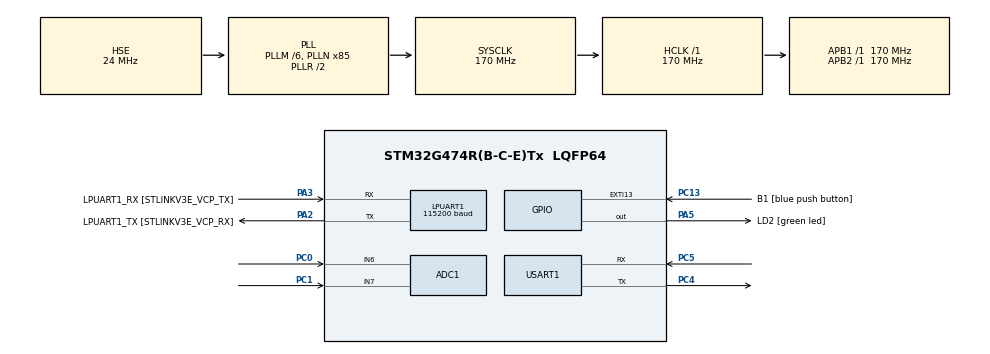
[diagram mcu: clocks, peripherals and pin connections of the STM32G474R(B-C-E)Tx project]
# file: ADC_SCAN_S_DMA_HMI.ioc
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ADC1.Channel-0\#ChannelRegularConversion=ADC_CHANNEL_6
ADC1.Channel-1\#ChannelRegularConversion=ADC_CHANNEL_7
ADC1.ContinuousConvMode=DISABLE
ADC1.DMAContinuousRequests=DISABLE
ADC1.NbrOfConversion=2
ADC1.NbrOfConversionFlag=1
ADC1.OffsetNumber-0\#ChannelRegularConversion=ADC_OFFSET_NONE
ADC1.OffsetNumber-1\#ChannelRegularConversion=ADC_OFFSET_NONE
ADC1.Rank-0\#ChannelRegularConversion=1
ADC1.Rank-1\#ChannelRegularConversion=2
ADC1.SamplingTime-0\#ChannelRegularConversion=ADC_SAMPLETIME_47CYCLES_5
ADC1.SamplingTime-1\#ChannelRegularConversion=ADC_SAMPLETIME_47CYCLES_5
ADC1.master=1
Dma.ADC1.0.Direction=DMA_PERIPH_TO_MEMORY
Dma.ADC1.0.EventEnable=DISABLE
Dma.ADC1.0.Instance=DMA1_Channel1
Dma.ADC1.0.MemDataAlignment=DMA_MDATAALIGN_WORD
Dma.ADC1.0.MemInc=DMA_MINC_ENABLE
Dma.ADC1.0.Mode=DMA_NORMAL
Dma.ADC1.0.PeriphDataAlignment=DMA_PDATAALIGN_WORD
Dma.ADC1.0.PeriphInc=DMA_PINC_DISABLE
Dma.ADC1.0.Polarity=HAL_DMAMUX_REQ_GEN_RISING
Dma.ADC1.0.Priority=DMA_PRIORITY_LOW
Dma.ADC1.0.RequestNumber=1
Dma.ADC1.0.SignalID=NONE
Dma.ADC1.0.SyncEnable=DISABLE
Dma.ADC1.0.SyncPolarity=HAL_DMAMUX_SYNC_NO_EVENT
Dma.ADC1.0.SyncRequestNumber=1
Dma.ADC1.0.SyncSignalID=NONE
Dma.Request0=ADC1
LPUART1.BaudRate=115200
LPUART1.WordLength=UART_WORDLENGTH_8B
Mcu.Family=STM32G4
Mcu.Name=STM32G474R(B-C-E)Tx
Mcu.Package=LQFP64
NVIC.DMA1_Channel1_IRQn=true\:0\:0\:false\:false\:true\:false\:true
NVIC.EXTI15_10_IRQn=true\:0\:0\:false\:false\:true\:true\:true
NVIC.PriorityGroup=NVIC_PRIORITYGROUP_4
NVIC.USART1_IRQn=true\:0\:0\:false\:false\:true\:true\:true
PA13.GPIO_Label=T_SWDIO
PA13.Mode=Serial_Wire
PA13.Signal=SYS_JTMS-SWDIO
PA14.GPIO_Label=T_SWCLK
PA14.Mode=Serial_Wire
PA14.Signal=SYS_JTCK-SWCLK
PA2.GPIO_Label=LPUART1_TX [STLINKV3E_VCP_RX]
PA2.Mode=Asynchronous
PA2.Signal=LPUART1_TX
PA3.GPIO_Label=LPUART1_RX [STLINKV3E_VCP_TX]
PA3.Mode=Asynchronous
PA3.Signal=LPUART1_RX
PA5.GPIO_Label=LD2 [green led]
PA5.Signal=GPIO_Output
PB3.GPIO_Label=T_SWO
PB3.Signal=SYS_JTDO-SWO
PC0.Mode=IN6-Single-Ended
PC0.Signal=ADC1_IN6
PC1.Mode=IN7-Single-Ended
PC1.Signal=ADC1_IN7
PC13.GPIO_Label=B1 [blue push button]
PC13.Signal=GPXTI13
PC14-OSC32_IN.Mode=LSE-External-Oscillator
PC14-OSC32_IN.Signal=RCC_OSC32_IN
PC15-OSC32_OUT.Mode=LSE-External-Oscillator
PC15-OSC32_OUT.Signal=RCC_OSC32_OUT
PC4.Mode=Asynchronous
PC4.Signal=USART1_TX
PC5.Mode=Asynchronous
PC5.Signal=USART1_RX
PF0-OSC_IN.Mode=HSE-External-Oscillator
PF0-OSC_IN.Signal=RCC_OSC_IN
PF1-OSC_OUT.Mode=HSE-External-Oscillator
PF1-OSC_OUT.Signal=RCC_OSC_OUT
ProjectManager.HeapSize=0x200
ProjectManager.StackSize=0x400
ProjectManager.TargetToolchain=STM32CubeIDE
RCC.ADC12Freq_Value=170000000
RCC.ADC345Freq_Value=170000000
RCC.AHBFreq_Value=170000000
RCC.APB1Freq_Value=170000000
RCC.APB1TimFreq_Value=170000000
RCC.APB2Freq_Value=170000000
RCC.APB2TimFreq_Value=170000000
RCC.CortexFreq_Value=170000000
RCC.EXTERNAL_CLOCK_VALUE=12288000
RCC.HCLKFreq_Value=170000000
RCC.HSE_VALUE=24000000
RCC.HSI48_VALUE=48000000
RCC.HSI_VALUE=16000000
RCC.PLLM=RCC_PLLM_DIV6
RCC.PLLN=85
RCC.PLLSourceVirtual=RCC_PLLSOURCE_HSE
RCC.RTCClockSelection=RCC_RTCCLKSOURCE_LSE
RCC.SYSCLKFreq_VALUE=170000000
RCC.SYSCLKSource=RCC_SYSCLKSOURCE_PLLCLK
RCC.USBFreq_Value=170000000
RCC.VCOOutputFreq_Value=340000000
USART1.VirtualMode-Asynchronous=VM_ASYNC
VP_SYS_VS_DBSignals.Mode=DisableDeadBatterySignals
board=NUCLEO-G474RE

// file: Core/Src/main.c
/* USER CODE BEGIN Header */
/**
  ******************************************************************************
  * @file           : main.c
  * @brief          : Main program body
  ******************************************************************************
  * @attention
  *
  * <h2><center>&copy; Copyright (c) 2021 STMicroelectronics.
  * All rights reserved.</center></h2>
  *
  * This software component is licensed by ST under BSD 3-Clause license,
  * the "License"; You may not use this file except in compliance with the
  * License. You may obtain a copy of the License at:
  *                        opensource.org/licenses/BSD-3-Clause
  *
  ******************************************************************************
  */
/* USER CODE END Header */
#include "main.h"
#include "adc.h"
#include "dma.h"
#include "usart.h"
#include "gpio.h"

/* USER CODE BEGIN PV */
uint32_t ADC_Value[2];
uint8_t CollectFlag = 1;

uint8_t receiveBuffer[5] = "0";
uint8_t SendFlag = 0;

/* USER CODE END PV */

void SystemClock_Config(void);

int main(void)
{

  /* MCU Configuration--------------------------------------------------------*/

  /* Reset of all peripherals, Initializes the Flash interface and the Systick. */
  HAL_Init();

  /* Configure the system clock */
  SystemClock_Config();

  /* Initialize all configured peripherals */
  MX_GPIO_Init();
  MX_LPUART1_UART_Init();
  MX_DMA_Init();
  MX_ADC1_Init();
  MX_USART1_UART_Init();
  /* USER CODE BEGIN 2 */

  HAL_ADC_Start_DMA(&hadc1,(uint32_t *)ADC_Value,sizeof(ADC_Value)/sizeof(ADC_Value[0]));

  HAL_UART_Receive_IT(&huart1,(uint8_t*)receiveBuffer,sizeof(receiveBuffer)/sizeof(receiveBuffer[0]));

  /* USER CODE END 2 */

  /* Infinite loop */
  while (1)
  {

    /* USER CODE BEGIN 3 */
		if(SendFlag == 1)
		{
			CollectFlag = 0;
			HAL_Delay(100);
			printf("#%04lu %04lu\r\n",ADC_Value[0],ADC_Value[1]);
			CollectFlag = 1;
			HAL_ADC_Start_DMA(&hadc1,(uint32_t *)ADC_Value,sizeof(ADC_Value)/sizeof(ADC_Value[0]));
		}

  }
  /* USER CODE END 3 */
}

void SystemClock_Config(void)
{
  RCC_OscInitTypeDef RCC_OscInitStruct = {0};
  RCC_ClkInitTypeDef RCC_ClkInitStruct = {0};
  RCC_PeriphCLKInitTypeDef PeriphClkInit = {0};

  /** Configure the main internal regulator output voltage
  */
  HAL_PWREx_ControlVoltageScaling(PWR_REGULATOR_VOLTAGE_SCALE1_BOOST);
  /** Initializes the RCC Oscillators according to the specified parameters
  * in the RCC_OscInitTypeDef structure.
  */
  RCC_OscInitStruct.OscillatorType = RCC_OSCILLATORTYPE_HSE;
  RCC_OscInitStruct.HSEState = RCC_HSE_ON;
  RCC_OscInitStruct.PLL.PLLState = RCC_PLL_ON;
  RCC_OscInitStruct.PLL.PLLSource = RCC_PLLSOURCE_HSE;
  RCC_OscInitStruct.PLL.PLLM = RCC_PLLM_DIV6;
  RCC_OscInitStruct.PLL.PLLN = 85;
  RCC_OscInitStruct.PLL.PLLP = RCC_PLLP_DIV2;
  RCC_OscInitStruct.PLL.PLLQ = RCC_PLLQ_DIV2;
  RCC_OscInitStruct.PLL.PLLR = RCC_PLLR_DIV2;
  if (HAL_RCC_OscConfig(&RCC_OscInitStruct) != HAL_OK)
  {
    Error_Handler();
  }
  /** Initializes the CPU, AHB and APB buses clocks
  */
  RCC_ClkInitStruct.ClockType = RCC_CLOCKTYPE_HCLK|RCC_CLOCKTYPE_SYSCLK
                              |RCC_CLOCKTYPE_PCLK1|RCC_CLOCKTYPE_PCLK2;
  RCC_ClkInitStruct.SYSCLKSource = RCC_SYSCLKSOURCE_PLLCLK;
  RCC_ClkInitStruct.AHBCLKDivider = RCC_SYSCLK_DIV1;
  RCC_ClkInitStruct.APB1CLKDivider = RCC_HCLK_DIV1;
  RCC_ClkInitStruct.APB2CLKDivider = RCC_HCLK_DIV1;

  if (HAL_RCC_ClockConfig(&RCC_ClkInitStruct, FLASH_LATENCY_4) != HAL_OK)
  {
    Error_Handler();
  }
  /** Initializes the peripherals clocks
  */
  PeriphClkInit.PeriphClockSelection = RCC_PERIPHCLK_USART1|RCC_PERIPHCLK_LPUART1
                              |RCC_PERIPHCLK_ADC12;
  PeriphClkInit.Usart1ClockSelection = RCC_USART1CLKSOURCE_PCLK2;
  PeriphClkInit.Lpuart1ClockSelection = RCC_LPUART1CLKSOURCE_PCLK1;
  PeriphClkInit.Adc12ClockSelection = RCC_ADC12CLKSOURCE_SYSCLK;
  if (HAL_RCCEx_PeriphCLKConfig(&PeriphClkInit) != HAL_OK)
  {
    Error_Handler();
  }
}

/* USER CODE BEGIN 4 */

void HAL_ADC_ConvCpltCallback(ADC_HandleTypeDef* hadc)
{
	if(CollectFlag == 1)
		HAL_ADC_Start_DMA(&hadc1,(uint32_t *)ADC_Value,sizeof(ADC_Value)/sizeof(ADC_Value[0]));
}

void HAL_UART_RxCpltCallback(UART_HandleTypeDef *huart)
{
	  if(huart->Instance == USART1)
	  {
		  printf("%s",receiveBuffer);
		  if(receiveBuffer[0] == 0x11 && receiveBuffer[1] == 0x22&& receiveBuffer[2] == 0x33)
		  {
			  HAL_GPIO_TogglePin(LD2_GPIO_Port,LD2_Pin);
			  receiveBuffer[0] = 0x00;
			  receiveBuffer[1] = 0x00;
			  receiveBuffer[2] = 0x00;
			  SendFlag = 1;
		  }
		  HAL_UART_Receive_IT(&huart1,receiveBuffer,sizeof(receiveBuffer)/sizeof(receiveBuffer[0]));
	  }
}

/* USER CODE END 4 */

void Error_Handler(void)
{
  __disable_irq();
  while (1)
  {
  }
}

/************************ (C) COPYRIGHT STMicroelectronics *****END OF FILE****/
